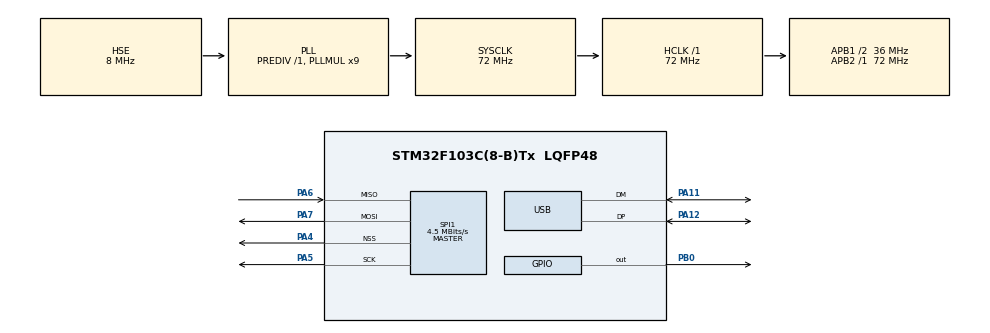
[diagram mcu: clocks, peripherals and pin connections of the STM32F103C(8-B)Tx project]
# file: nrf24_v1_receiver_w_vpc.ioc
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Mcu.Family=STM32F1
Mcu.Name=STM32F103C(8-B)Tx
Mcu.Package=LQFP48
NVIC.PriorityGroup=NVIC_PRIORITYGROUP_4
NVIC.USB_LP_CAN1_RX0_IRQn=true\:0\:0\:false\:false\:true
PA11.Mode=Device
PA11.Signal=USB_DM
PA12.Mode=Device
PA12.Signal=USB_DP
PA13.Mode=Serial_Wire
PA13.Signal=SYS_JTMS-SWDIO
PA14.Mode=Serial_Wire
PA14.Signal=SYS_JTCK-SWCLK
PA4.Mode=NSS_Signal_Hard_Output
PA4.Signal=SPI1_NSS
PA5.Mode=Full_Duplex_Master
PA5.Signal=SPI1_SCK
PA6.Mode=Full_Duplex_Master
PA6.Signal=SPI1_MISO
PA7.Mode=Full_Duplex_Master
PA7.Signal=SPI1_MOSI
PB0.Signal=GPIO_Output
PD0-OSC_IN.Mode=HSE-External-Oscillator
PD0-OSC_IN.Signal=RCC_OSC_IN
PD1-OSC_OUT.Mode=HSE-External-Oscillator
PD1-OSC_OUT.Signal=RCC_OSC_OUT
ProjectManager.HeapSize=0x200
ProjectManager.StackSize=0x400
ProjectManager.TargetToolchain=MDK-ARM V5
RCC.AHBFreq_Value=72000000
RCC.APB1CLKDivider=RCC_HCLK_DIV2
RCC.APB1Freq_Value=36000000
RCC.APB1TimFreq_Value=72000000
RCC.APB2Freq_Value=72000000
RCC.APB2TimFreq_Value=72000000
RCC.HCLKFreq_Value=72000000
RCC.HSIState=RCC_HSI_ON
RCC.PLLMUL=RCC_PLL_MUL9
RCC.SYSCLKFreq_VALUE=72000000
RCC.SYSCLKSource=RCC_SYSCLKSOURCE_PLLCLK
RCC.USBFreq_Value=48000000
RCC.USBPrescaler=RCC_USBCLKSOURCE_PLL_DIV1_5
SPI1.BaudRatePrescaler=SPI_BAUDRATEPRESCALER_16
SPI1.CalculateBaudRate=4.5 MBits/s
SPI1.Mode=SPI_MODE_MASTER
SPI1.VirtualNSS=VM_NSSHARD
USB_DEVICE.CLASS_NAME_FS=CDC
USB_DEVICE.USBD_HandleTypeDef=hUsbDeviceFS
USB_DEVICE.VirtualMode=Cdc
USB_DEVICE.VirtualModeFS=Cdc_FS
VP_USB_DEVICE_VS_USB_DEVICE_CDC_FS.Mode=CDC_FS
board=nrf24_v1_receiver_w_vpc

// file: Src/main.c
/**
  ******************************************************************************
  * File Name          : main.c
  * Description        : Main program body
  ******************************************************************************
  *
  * COPYRIGHT(c) 2016 STMicroelectronics
  *
  * Redistribution and use in source and binary forms, with or without modification,
  * are permitted provided that the following conditions are met:
  *   1. Redistributions of source code must retain the above copyright notice,
  *      this list of conditions and the following disclaimer.
  *   2. Redistributions in binary form must reproduce the above copyright notice,
  *      this list of conditions and the following disclaimer in the documentation
  *      and/or other materials provided with the distribution.
  *   3. Neither the name of STMicroelectronics nor the names of its contributors
  *      may be used to endorse or promote products derived from this software
  *      without specific prior written permission.
  *
  * THIS SOFTWARE IS PROVIDED BY THE COPYRIGHT HOLDERS AND CONTRIBUTORS "AS IS"
  * AND ANY EXPRESS OR IMPLIED WARRANTIES, INCLUDING, BUT NOT LIMITED TO, THE
  * IMPLIED WARRANTIES OF MERCHANTABILITY AND FITNESS FOR A PARTICULAR PURPOSE ARE
  * DISCLAIMED. IN NO EVENT SHALL THE COPYRIGHT HOLDER OR CONTRIBUTORS BE LIABLE
  * FOR ANY DIRECT, INDIRECT, INCIDENTAL, SPECIAL, EXEMPLARY, OR CONSEQUENTIAL
  * DAMAGES (INCLUDING, BUT NOT LIMITED TO, PROCUREMENT OF SUBSTITUTE GOODS OR
  * SERVICES; LOSS OF USE, DATA, OR PROFITS; OR BUSINESS INTERRUPTION) HOWEVER
  * CAUSED AND ON ANY THEORY OF LIABILITY, WHETHER IN CONTRACT, STRICT LIABILITY,
  * OR TORT (INCLUDING NEGLIGENCE OR OTHERWISE) ARISING IN ANY WAY OUT OF THE USE
  * OF THIS SOFTWARE, EVEN IF ADVISED OF THE POSSIBILITY OF SUCH DAMAGE.
  *
  ******************************************************************************
  */
#include "stm32f1xx_hal.h"
#include "usb_device.h"
#include "usbd_cdc_if.h"

/* USER CODE BEGIN Includes */

#include "nrf24l01.h"

/* USER CODE END Includes */

SPI_HandleTypeDef hspi1;

/* USER CODE BEGIN PV */
/* Private variables ---------------------------------------------------------*/

/* USER CODE END PV */

void SystemClock_Config(void);
static void MX_GPIO_Init(void);
static void MX_SPI1_Init(void);

/* USER CODE BEGIN PFP */
/* Private function prototypes -----------------------------------------------*/

/* USER CODE END PFP */

/* USER CODE BEGIN 0 */

struct structPackage{			// Size should not exceed 32Bytes
	uint8_t xAxis;
	uint8_t yAxis;
	uint8_t zAxis;
	uint8_t text[28];
} txPackage;

// Transmitter pipe address - Same of one of the pipe of receiver
uint8_t pipeOut[] = { 0xE7, 0xE6, 0xE5, 0xE4, 0xE3 };

/* USER CODE END 0 */

int main(void)
{

  /* MCU Configuration----------------------------------------------------------*/

  /* Reset of all peripherals, Initializes the Flash interface and the Systick. */
  HAL_Init();

  /* Configure the system clock */
  SystemClock_Config();

  /* Initialize all configured peripherals */
  MX_GPIO_Init();
  MX_SPI1_Init();
	MX_USB_DEVICE_Init();

  /* USER CODE BEGIN 2 */

	// Need to declare pins and ports of nrf24l01
	NRF24L01_Pins_t NRF24L01_Pins;

	NRF24L01_Pins.CE.GPIOx = GPIOB;
	NRF24L01_Pins.CE.GPIO_Pin = GPIO_PIN_0;
	NRF24L01_Pins.CSN.GPIOx = GPIOA;								// Declara pinos especificos da spi
	NRF24L01_Pins.CSN.GPIO_Pin = GPIO_PIN_4;
	NRF24L01_Pins.IRQ.GPIOx = NULL;									// Interrupt pin is not used yet
	NRF24L01_Pins.IRQ.GPIO_Pin = NULL;
	NRF24L01_Pins.MISO.GPIOx = GPIOA;
	NRF24L01_Pins.MISO.GPIO_Pin = GPIO_PIN_6;
	NRF24L01_Pins.MOSI.GPIOx = GPIOA;
	NRF24L01_Pins.MOSI.GPIO_Pin = GPIO_PIN_7;
	NRF24L01_Pins.SCK.GPIOx = GPIOA;
	NRF24L01_Pins.SCK.GPIO_Pin = GPIO_PIN_5;

	uint8_t channel = 80;											// Channel(decimal)
	uint8_t payload = sizeof(txPackage);

	/* Initialize NRF24L01 on channel 80 and n bytes of payload */
  /* By default 2Mbps data rate and 0dBm output power */
  NRF24L01_Init( channel, payload, &hspi1, NRF24L01_Pins );			//REVER

	/* Set 2MBps data rate and -18dBm output power */
  NRF24L01_SetRF( NRF24L01_DataRate_1M, NRF24L01_OutputPower_0dBm);

	/* Enable auto acknolodgment */
	NRF24L01_SetAutoAck(0xFF, 0);									// 0xFF Enable all or if you want enable just pipe 3, insert 3
																								// Have some troble with ack enable... many lost packages

	/* Enable CRC 2bytes */
	NRF24L01_SetCrcLength( NRF24L01_CRC_16 );

	//APAGAR
		NRF24L01_TestCarrier();

	/* Open a reading pipe with an address*/
	NRF24L01_OpenReadingPipe(1, pipeOut);
	HAL_Delay(1);

	NRF24L01_StartListening();
	HAL_Delay(1);

  /* USER CODE END 2 */

  /* Infinite loop */
  /* USER CODE BEGIN WHILE */

	uint32_t received_at = 0;					// hold the time of the last package received

	txPackage.xAxis = 0;
	txPackage.yAxis = 0;
	txPackage.zAxis = 0;
	memset( &txPackage.text, '\0', sizeof(txPackage.text)); // clean variables

	uint8_t cont = 0;
	uint8_t strOut[256];

  /* USER CODE END 2 */

  /* Infinite loop */
  /* USER CODE BEGIN WHILE */
  while (1)
  {
		if( HAL_GetTick() - received_at > 2000 ){					// lost signal
			if(cont<2){
				memset( strOut, '\0', sizeof(strOut) );
				//snprintf( (char *)strOut, sizeof(strOut), "Sem sinal! \n");
				//CDC_Transmit_FS( (uint8_t*)strOut, strlen( (char *)strOut) );

				cont++;
				HAL_Delay(1);
			}
		}

		if( NRF24L01_Available( NULL ) ){
			uint8_t done = 0;

			while( !done ){
				done = NRF24L01_Read(&txPackage);
				received_at = HAL_GetTick();
			}

//			memset( strOut, '\0', sizeof(strOut) );
//			snprintf( (char *)strOut, sizeof(strOut), "x: %d \n", txPackage.xAxis );
//			CDC_Transmit_FS( (uint8_t*)strOut, strlen( (char *)strOut) );
//
//			memset( strOut, '\0', sizeof(strOut) );
//			snprintf( (char *)strOut, sizeof(strOut), "y: %d \n", txPackage.yAxis );
//			CDC_Transmit_FS( (uint8_t*)strOut, strlen( (char *)strOut) );
//
//			memset( strOut, '\0', sizeof(strOut) );
//			snprintf( (char *)strOut, sizeof(strOut), "z: %d \n", txPackage.zAxis );
//			CDC_Transmit_FS( (uint8_t*)strOut, strlen( (char *)strOut) );

			memset( strOut, '\0', sizeof(strOut) );
			snprintf( (char *)strOut, sizeof(strOut), "x: %d, y: %d, z: %d \n", txPackage.xAxis, txPackage.yAxis, txPackage.zAxis );
			//CDC_Transmit_FS( (uint8_t*)strOut, strlen( (char *)strOut) );
			CDC_Transmit_FS( txPackage.text, strlen( (char *)txPackage.text ));

			// print received data

			cont = 0;

		}

  /* USER CODE END WHILE */

  }

}

/** System Clock Configuration
*/
void SystemClock_Config(void)
{

  RCC_OscInitTypeDef RCC_OscInitStruct;
  RCC_ClkInitTypeDef RCC_ClkInitStruct;

  RCC_OscInitStruct.OscillatorType = RCC_OSCILLATORTYPE_HSE;
  RCC_OscInitStruct.HSEState = RCC_HSE_ON;
  RCC_OscInitStruct.HSEPredivValue = RCC_HSE_PREDIV_DIV1;
  RCC_OscInitStruct.PLL.PLLState = RCC_PLL_ON;
  RCC_OscInitStruct.PLL.PLLSource = RCC_PLLSOURCE_HSE;
  RCC_OscInitStruct.PLL.PLLMUL = RCC_PLL_MUL9;
  HAL_RCC_OscConfig(&RCC_OscInitStruct);

  RCC_ClkInitStruct.ClockType = RCC_CLOCKTYPE_HCLK|RCC_CLOCKTYPE_SYSCLK
                              |RCC_CLOCKTYPE_PCLK1|RCC_CLOCKTYPE_PCLK2;
  RCC_ClkInitStruct.SYSCLKSource = RCC_SYSCLKSOURCE_PLLCLK;
  RCC_ClkInitStruct.AHBCLKDivider = RCC_SYSCLK_DIV1;
  RCC_ClkInitStruct.APB1CLKDivider = RCC_HCLK_DIV2;
  RCC_ClkInitStruct.APB2CLKDivider = RCC_HCLK_DIV1;
  HAL_RCC_ClockConfig(&RCC_ClkInitStruct, FLASH_LATENCY_2);

  HAL_SYSTICK_Config(HAL_RCC_GetHCLKFreq()/1000);

  HAL_SYSTICK_CLKSourceConfig(SYSTICK_CLKSOURCE_HCLK);

  /* SysTick_IRQn interrupt configuration */
  HAL_NVIC_SetPriority(SysTick_IRQn, 0, 0);
}

/* SPI1 init function */
void MX_SPI1_Init(void)
{

  hspi1.Instance = SPI1;
  hspi1.Init.Mode = SPI_MODE_MASTER;
  hspi1.Init.Direction = SPI_DIRECTION_2LINES;
  hspi1.Init.DataSize = SPI_DATASIZE_8BIT;
  hspi1.Init.CLKPolarity = SPI_POLARITY_LOW;
  hspi1.Init.CLKPhase = SPI_PHASE_1EDGE;
  hspi1.Init.NSS = SPI_NSS_HARD_OUTPUT;
  hspi1.Init.BaudRatePrescaler = SPI_BAUDRATEPRESCALER_16;
  hspi1.Init.FirstBit = SPI_FIRSTBIT_MSB;
  hspi1.Init.TIMode = SPI_TIMODE_DISABLE;
  hspi1.Init.CRCCalculation = SPI_CRCCALCULATION_DISABLE;
  hspi1.Init.CRCPolynomial = 10;
  HAL_SPI_Init(&hspi1);

}

/** Configure pins as
        * Analog
        * Input
        * Output
        * EVENT_OUT
        * EXTI
*/
void MX_GPIO_Init(void)
{

  /* GPIO Ports Clock Enable */
  __HAL_RCC_GPIOD_CLK_ENABLE();
  __HAL_RCC_GPIOA_CLK_ENABLE();

}

/************************ (C) COPYRIGHT STMicroelectronics *****END OF FILE****/
